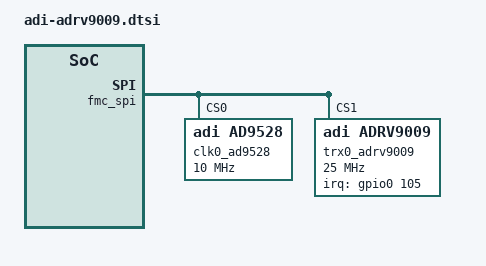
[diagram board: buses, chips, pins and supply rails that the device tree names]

#include <dt-bindings/iio/frequency/ad9528.h>
#include <dt-bindings/gpio/gpio.h>
#include <dt-bindings/interrupt-controller/irq.h>

/ {
	clocks {
		adrv9009_clkin: clock@0 {
			compatible = "fixed-clock";

			clock-frequency = <12288000>;
			clock-output-names = "adrv9009_ext_refclk";
			#clock-cells = <0>;
		};
	};
};

&fmc_spi {

	clk0_ad9528: ad9528-1@0 {
		compatible = "adi,ad9528";
		reg = <0>;

		#address-cells = <1>;
		#size-cells = <0>;

		spi-max-frequency = <10000000>;
		//adi,spi-3wire-enable;

		clock-output-names = "ad9528-1_out0", "ad9528-1_out1", "ad9528-1_out2",
			"ad9528-1_out3", "ad9528-1_out4", "ad9528-1_out5", "ad9528-1_out6",
			"ad9528-1_out7", "ad9528-1_out8", "ad9528-1_out9", "ad9528-1_out10",
			"ad9528-1_out11", "ad9528-1_out12", "ad9528-1_out13";
		#clock-cells = <1>;

		adi,vcxo-freq = <122880000>;

		adi,refa-enable;
		adi,refa-diff-rcv-enable;
		adi,refa-r-div = <1>;
		adi,osc-in-cmos-neg-inp-enable;

		/* PLL1 config */
		adi,pll1-feedback-div = <4>;
		adi,pll1-charge-pump-current-nA = <5000>;

		/* PLL2 config */
		adi,pll2-vco-div-m1 = <3>; /* use 5 for 184320000 output device clock */
		adi,pll2-n2-div = <10>; /* N / M1 */
		adi,pll2-r1-div = <1>;
		adi,pll2-charge-pump-current-nA = <805000>;

		/* SYSREF config */
		adi,sysref-src = <SYSREF_SRC_INTERNAL>;
		adi,sysref-pattern-mode = <SYSREF_PATTERN_CONTINUOUS>;
		adi,sysref-k-div = <512>;
		adi,sysref-request-enable;
		adi,sysref-nshot-mode = <SYSREF_NSHOT_4_PULSES>;
		adi,sysref-request-trigger-mode = <SYSREF_LEVEL_HIGH>;

		adi,rpole2 = <RPOLE2_900_OHM>;
		adi,rzero = <RZERO_1850_OHM>;
		adi,cpole1 = <CPOLE1_16_PF>;

		adi,status-mon-pin0-function-select = <1>; /* PLL1 & PLL2 Locked */
		adi,status-mon-pin1-function-select = <7>; /* REFA Correct */

		ad9528_0_c13: channel@13 {
			reg = <13>;
			adi,extended-name = "DEV_CLK";
			adi,driver-mode = <DRIVER_MODE_LVDS>;
			adi,divider-phase = <0>;
			adi,channel-divider = <10>;
			adi,signal-source = <SOURCE_VCO>;
		};

		ad9528_0_c1: channel@1 {
			reg = <1>;
			adi,extended-name = "FMC_CLK";
			adi,driver-mode = <DRIVER_MODE_LVDS>;
			adi,divider-phase = <0>;
			adi,channel-divider = <10>;
			adi,signal-source = <SOURCE_VCO>;
		};

		ad9528_0_c12: channel@12 {
			reg = <12>;
			adi,extended-name = "DEV_SYSREF";
			adi,driver-mode = <DRIVER_MODE_LVDS>;
			adi,divider-phase = <0>;
			adi,channel-divider = <10>;
			adi,signal-source = <SOURCE_SYSREF_VCO>;
		};

		ad9528_0_c3: channel@3 {
			reg = <3>;
			adi,extended-name = "FMC_SYSREF";
			adi,driver-mode = <DRIVER_MODE_LVDS>;
			adi,divider-phase = <0>;
			adi,channel-divider = <10>;
			adi,signal-source = <SOURCE_SYSREF_VCO>;
		};
	};

	trx0_adrv9009: adrv9009-phy@1 {
		compatible = "adi,adrv9009";
		reg = <1>;

		#address-cells = <1>;
		#size-cells = <0>;

		/* SPI Setup */
		spi-max-frequency = <25000000>;

		interrupt-parent = <&gpio0>;
		interrupts = <105 IRQ_TYPE_EDGE_RISING>;

		/* Clocks */
		clocks = <&axi_adrv9009_rx_jesd>, <&axi_adrv9009_tx_jesd>,
			<&axi_adrv9009_rx_os_jesd>, <&clk0_ad9528 13>,
			<&clk0_ad9528 1>, <&clk0_ad9528 12>, <&clk0_ad9528 3>;
		clock-names = "jesd_rx_clk", "jesd_tx_clk", "jesd_rx_os_clk",
			"dev_clk", "fmc_clk", "sysref_dev_clk",
			"sysref_fmc_clk";

		clock-output-names = "rx_sampl_clk", "rx_os_sampl_clk", "tx_sampl_clk";
		#clock-cells = <1>;

		/* JESD204 */

		/* JESD204 RX */
		adi,jesd204-framer-a-bank-id = <1>;
		adi,jesd204-framer-a-device-id = <0>;
		adi,jesd204-framer-a-lane0-id = <0>;
		adi,jesd204-framer-a-m = <4>;
		adi,jesd204-framer-a-k = <32>;
		adi,jesd204-framer-a-f = <4>;
		adi,jesd204-framer-a-np = <16>;
		adi,jesd204-framer-a-scramble = <1>;
		adi,jesd204-framer-a-external-sysref = <1>;
		adi,jesd204-framer-a-serializer-lanes-enabled = <0x03>;
		adi,jesd204-framer-a-serializer-lane-crossbar = <0xE4>;
		adi,jesd204-framer-a-lmfc-offset = <31>;
		adi,jesd204-framer-a-new-sysref-on-relink = <0>;
		adi,jesd204-framer-a-syncb-in-select = <0>;
		adi,jesd204-framer-a-over-sample = <0>;
		adi,jesd204-framer-a-syncb-in-lvds-mode = <1>;
		adi,jesd204-framer-a-syncb-in-lvds-pn-invert = <0>;
		adi,jesd204-framer-a-enable-manual-lane-xbar = <0>;

		/* JESD204 OBS */
		adi,jesd204-framer-b-bank-id = <0>;
		adi,jesd204-framer-b-device-id = <0>;
		adi,jesd204-framer-b-lane0-id = <0>;
		adi,jesd204-framer-b-m = <4>;
		adi,jesd204-framer-b-k = <32>;
		adi,jesd204-framer-b-f = <4>;
		adi,jesd204-framer-b-np = <16>;
		adi,jesd204-framer-b-scramble = <1>;
		adi,jesd204-framer-b-external-sysref = <1>;
		adi,jesd204-framer-b-serializer-lanes-enabled = <0x0C>;
		adi,jesd204-framer-b-serializer-lane-crossbar = <0xE4>;
		adi,jesd204-framer-b-lmfc-offset = <31>;
		adi,jesd204-framer-b-new-sysref-on-relink = <0>;
		adi,jesd204-framer-b-syncb-in-select = <1>;
		adi,jesd204-framer-b-over-sample = <0>;
		adi,jesd204-framer-b-syncb-in-lvds-mode = <1>;
		adi,jesd204-framer-b-syncb-in-lvds-pn-invert = <0>;
		adi,jesd204-framer-b-enable-manual-lane-xbar = <0>;

		/* JESD204 TX */
		adi,jesd204-deframer-a-bank-id = <0>;
		adi,jesd204-deframer-a-device-id = <0>;
		adi,jesd204-deframer-a-lane0-id = <0>;
		adi,jesd204-deframer-a-m = <4>;
		adi,jesd204-deframer-a-k = <32>;
		adi,jesd204-deframer-a-scramble = <1>;
		adi,jesd204-deframer-a-external-sysref = <1>;
		adi,jesd204-deframer-a-deserializer-lanes-enabled = <0x0F>;
		adi,jesd204-deframer-a-deserializer-lane-crossbar = <0xE4>;
		adi,jesd204-deframer-a-lmfc-offset = <17>;
		adi,jesd204-deframer-a-new-sysref-on-relink = <0>;
		adi,jesd204-deframer-a-syncb-out-select = <0>;
		adi,jesd204-deframer-a-np = <16>;
		adi,jesd204-deframer-a-syncb-out-lvds-mode = <1>;
		adi,jesd204-deframer-a-syncb-out-lvds-pn-invert = <0>;
		adi,jesd204-deframer-a-syncb-out-cmos-slew-rate = <0>;
		adi,jesd204-deframer-a-syncb-out-cmos-drive-level = <0>;
		adi,jesd204-deframer-a-enable-manual-lane-xbar = <0>;

		adi,jesd204-ser-amplitude = <15>;
		adi,jesd204-ser-pre-emphasis = <1>;
		adi,jesd204-ser-invert-lane-polarity = <0>;
		adi,jesd204-des-invert-lane-polarity = <0>;
		adi,jesd204-des-eq-setting = <1>;
		adi,jesd204-sysref-lvds-mode = <1>;
		adi,jesd204-sysref-lvds-pn-invert = <0>;

		/* RX */

		adi,rx-profile-rx-fir-gain_db = <(-6)>;
		adi,rx-profile-rx-fir-num-fir-coefs = <48>;
		adi,rx-profile-rx-fir-coefs = /bits/ 16 <(-8) (-22) (32) (50) (-68) (-106) (141) (199) (-258) (-352) (430) (572) (-691) (-903) (1069) (1392) (-1644) (-2172) (2569) (3574) (-4364) (-7129) (9355) (31095) (31095) (9355) (-7129) (-4364) (3574) (2569) (-2172) (-1644) (1392) (1069) (-903) (-691) (572) (430) (-352) (-258) (199) (141) (-106) (-68) (50) (32) (-22) (-8)>;

		adi,rx-profile-rx-fir-decimation = <2>;
		adi,rx-profile-rx-dec5-decimation = <4>;
		adi,rx-profile-rhb1-decimation = <2>;
		adi,rx-profile-rx-output-rate_khz = <122880>;
		adi,rx-profile-rf-bandwidth_hz = <100000000>;
		adi,rx-profile-rx-bbf3d-bcorner_khz = <100000>;
		adi,rx-profile-rx-adc-profile = /bits/ 16 <265 146 181 90 1280 366 1257 27 1258 17 718 39 48 46 27 161 0 0 0 0 40 0 7 6 42 0 7 6 42 0 25 27 0 0 25 27 0 0 165 44 31 905>;
		adi,rx-profile-rx-ddc-mode = <0>;

		adi,rx-nco-shifter-band-a-input-band-width_khz = <0>;
		adi,rx-nco-shifter-band-a-input-center-freq_khz = <0>;
		adi,rx-nco-shifter-band-a-nco1-freq_khz = <0>;
		adi,rx-nco-shifter-band-a-nco2-freq_khz = <0>;
		adi,rx-nco-shifter-band-binput-band-width_khz = <0>;
		adi,rx-nco-shifter-band-binput-center-freq_khz = <0>;
		adi,rx-nco-shifter-band-bnco1-freq_khz = <0>;
		adi,rx-nco-shifter-band-bnco2-freq_khz = <0>;

		adi,rx-gain-control-gain-mode = <0>;
		adi,rx-gain-control-rx1-gain-index = <255>;
		adi,rx-gain-control-rx2-gain-index = <255>;
		adi,rx-gain-control-rx1-max-gain-index = <255>;
		adi,rx-gain-control-rx1-min-gain-index = <195>;
		adi,rx-gain-control-rx2-max-gain-index = <255>;
		adi,rx-gain-control-rx2-min-gain-index = <195>;

		adi,rx-settings-framer-sel = <0>;
		adi,rx-settings-rx-channels = <3>;

		/* ORX */

		adi,orx-profile-rx-fir-gain_db = <(-6)>;
		adi,orx-profile-rx-fir-num-fir-coefs = <48>;
		adi,orx-profile-rx-fir-coefs = /bits/ 16  <(-9) (-18) (31) (42) (-65) (-89) (132) (168) (-240) (-298) (396) (486) (-632) (-770) (968) (1163) (-1530) (-1862) (2369) (3051) (-4066) (-5983) (9689) (29830) (29830) (9689) (-5983) (-4066) (3051) (2369) (-1862) (-1530) (1163) (968) (-770) (-632) (486) (396) (-298) (-240) (168) (132) (-89) (-65) (42) (31) (-18) (-9)>;
		adi,orx-profile-rx-fir-decimation = <2>;
		adi,orx-profile-rx-dec5-decimation = <4>;
		adi,orx-profile-rhb1-decimation = <2>;
		adi,orx-profile-orx-output-rate_khz = <122880>;
		adi,orx-profile-rf-bandwidth_hz = <100000000>;
		adi,orx-profile-rx-bbf3d-bcorner_khz = <225000>;
		adi,orx-profile-orx-low-pass-adc-profile = /bits/ 16  <265 146 181 90 1280 366 1257 27 1258 17 718 39 48 46 27 161 0 0 0 0 40 0 7 6 42 0 7 6 42 0 25 27 0 0 25 27 0 0 165 44 31 905>;
		adi,orx-profile-orx-band-pass-adc-profile = /bits/ 16  <265 146 181 90 1280 366 1257 27 1258 17 718 39 48 46 27 161 0 0 0 0 40 0 7 6 42 0 7 6 42 0 25 27 0 0 25 27 0 0 165 44 31 905>;
		adi,orx-profile-orx-ddc-mode = <0>;
		adi,orx-profile-orx-merge-filter = /bits/ 16  <0 0 0 0 0 0 0 0 0 0 0 0>;

		adi,orx-gain-control-gain-mode = <0>;
		adi,orx-gain-control-orx1-gain-index = <255>;
		adi,orx-gain-control-orx2-gain-index = <255>;
		adi,orx-gain-control-orx1-max-gain-index = <255>;
		adi,orx-gain-control-orx1-min-gain-index = <195>;
		adi,orx-gain-control-orx2-max-gain-index = <255>;
		adi,orx-gain-control-orx2-min-gain-index = <195>;

		adi,obs-settings-framer-sel = <1>;
		adi,obs-settings-obs-rx-channels-enable = <3>;
		adi,obs-settings-obs-rx-lo-source = <0>;

		/* TX */

		adi,tx-profile-tx-fir-gain_db = <6>;
		adi,tx-profile-tx-fir-num-fir-coefs = <80>;
		adi,tx-profile-tx-fir-coefs = /bits/ 16  <(0) (0) (0) (1) (0) (-3) (1) (7) (-3) (-13) (7) (25) (-14) (-42) (27) (69) (-46) (-107) (74) (160) (-115) (-229) (184) (336) (-264) (-468) (382) (653) (-538) (-904) (754) (1269) (-1056) (-1842) (1486) (2879) (-2031) (-4846) (3816) (16221) (16221) (3816) (-4846) (-2031) (2879) (1486) (-1842) (-1056) (1269) (754) (-904) (-538) (653) (382) (-468) (-264) (336) (184) (-229) (-115) (160) (74) (-107) (-46) (69) (27) (-42) (-14) (25) (7) (-13) (-3) (7) (1) (-3) (0) (1) (0) (0) (0)>;

		adi,tx-profile-dac-div = <1>;

		adi,tx-profile-tx-fir-interpolation = <2>;
		adi,tx-profile-thb1-interpolation = <2>;
		adi,tx-profile-thb2-interpolation = <2>;
		adi,tx-profile-thb3-interpolation = <2>;
		adi,tx-profile-tx-int5-interpolation = <1>;
		adi,tx-profile-tx-input-rate_khz = <122880>;
		adi,tx-profile-primary-sig-bandwidth_hz = <50000000>;
		adi,tx-profile-rf-bandwidth_hz = <100000000>;
		adi,tx-profile-tx-dac3d-bcorner_khz = <187000>;
		adi,tx-profile-tx-bbf3d-bcorner_khz = <56000>;
		adi,tx-profile-loop-back-adc-profile = /bits/ 16 <265 146 181 90 1280 366 1257 27 1258 17 718 39 48 46 27 161 0 0 0 0 40 0 7 6 42 0 7 6 42 0 25 27 0 0 25 27 0 0 165 44 31 905>;

		adi,tx-settings-deframer-sel = <0>;
		adi,tx-settings-tx-channels = <3>;
		adi,tx-settings-tx-atten-step-size = <0>;
		adi,tx-settings-tx1-atten_md-b = <10000>;
		adi,tx-settings-tx2-atten_md-b = <10000>;
		adi,tx-settings-dis-tx-data-if-pll-unlock = <0>;

		/* Clocks */

		adi,dig-clocks-device-clock_khz = <122880>;
		adi,dig-clocks-clk-pll-vco-freq_khz = <9830400>;
		adi,dig-clocks-clk-pll-hs-div = <1>;
		adi,dig-clocks-rf-pll-use-external-lo = <0>;
		adi,dig-clocks-rf-pll-phase-sync-mode = <0>;

		/* AGC */

		adi,rxagc-peak-agc-under-range-low-interval_ns = <205>;
		adi,rxagc-peak-agc-under-range-mid-interval = <2>;
		adi,rxagc-peak-agc-under-range-high-interval = <4>;
		adi,rxagc-peak-apd-high-thresh = <39>;
		adi,rxagc-peak-apd-low-gain-mode-high-thresh = <36>;
		adi,rxagc-peak-apd-low-thresh = <23>;
		adi,rxagc-peak-apd-low-gain-mode-low-thresh = <19>;
		adi,rxagc-peak-apd-upper-thresh-peak-exceeded-cnt = <6>;
		adi,rxagc-peak-apd-lower-thresh-peak-exceeded-cnt = <3>;
		adi,rxagc-peak-apd-gain-step-attack = <4>;
		adi,rxagc-peak-apd-gain-step-recovery = <2>;
		adi,rxagc-peak-enable-hb2-overload = <1>;
		adi,rxagc-peak-hb2-overload-duration-cnt = <1>;
		adi,rxagc-peak-hb2-overload-thresh-cnt = <4>;
		adi,rxagc-peak-hb2-high-thresh = <181>;
		adi,rxagc-peak-hb2-under-range-low-thresh = <45>;
		adi,rxagc-peak-hb2-under-range-mid-thresh = <90>;
		adi,rxagc-peak-hb2-under-range-high-thresh = <128>;
		adi,rxagc-peak-hb2-upper-thresh-peak-exceeded-cnt = <6>;
		adi,rxagc-peak-hb2-lower-thresh-peak-exceeded-cnt = <3>;
		adi,rxagc-peak-hb2-gain-step-high-recovery = <2>;
		adi,rxagc-peak-hb2-gain-step-low-recovery = <4>;
		adi,rxagc-peak-hb2-gain-step-mid-recovery = <8>;
		adi,rxagc-peak-hb2-gain-step-attack = <4>;
		adi,rxagc-peak-hb2-overload-power-mode = <1>;
		adi,rxagc-peak-hb2-ovrg-sel = <0>;
		adi,rxagc-peak-hb2-thresh-config = <3>;

		adi,rxagc-power-power-enable-measurement = <1>;
		adi,rxagc-power-power-use-rfir-out = <1>;
		adi,rxagc-power-power-use-bbdc2 = <0>;
		adi,rxagc-power-under-range-high-power-thresh = <9>;
		adi,rxagc-power-under-range-low-power-thresh = <2>;
		adi,rxagc-power-under-range-high-power-gain-step-recovery = <4>;
		adi,rxagc-power-under-range-low-power-gain-step-recovery = <4>;
		adi,rxagc-power-power-measurement-duration = <5>;
		adi,rxagc-power-rx1-tdd-power-meas-duration = <5>;
		adi,rxagc-power-rx1-tdd-power-meas-delay = <1>;
		adi,rxagc-power-rx2-tdd-power-meas-duration = <5>;
		adi,rxagc-power-rx2-tdd-power-meas-delay = <1>;
		adi,rxagc-power-upper0-power-thresh = <2>;
		adi,rxagc-power-upper1-power-thresh = <0>;
		adi,rxagc-power-power-log-shift = <0>;

		adi,rxagc-agc-peak-wait-time = <4>;
		adi,rxagc-agc-rx1-max-gain-index = <255>;
		adi,rxagc-agc-rx1-min-gain-index = <195>;
		adi,rxagc-agc-rx2-max-gain-index = <255>;
		adi,rxagc-agc-rx2-min-gain-index = <195>;
		adi,rxagc-agc-gain-update-counter_us = <250>;
		adi,rxagc-agc-rx1-attack-delay = <10>;
		adi,rxagc-agc-rx2-attack-delay = <10>;
		adi,rxagc-agc-slow-loop-settling-delay = <16>;
		adi,rxagc-agc-low-thresh-prevent-gain = <0>;
		adi,rxagc-agc-change-gain-if-thresh-high = <1>;
		adi,rxagc-agc-peak-thresh-gain-control-mode = <1>;
		adi,rxagc-agc-reset-on-rxon = <0>;
		adi,rxagc-agc-enable-sync-pulse-for-gain-counter = <0>;
		adi,rxagc-agc-enable-ip3-optimization-thresh = <0>;
		adi,rxagc-ip3-over-range-thresh = <31>;
		adi,rxagc-ip3-over-range-thresh-index = <246>;
		adi,rxagc-ip3-peak-exceeded-cnt = <4>;
		adi,rxagc-agc-enable-fast-recovery-loop = <0>;


		/* Misc */

		adi,aux-dac-enables = <0x00>; /* Mask */

		adi,aux-dac-vref0 = <3>;
		adi,aux-dac-resolution0 = <0>;
		adi,aux-dac-values0 = <0>;
		adi,aux-dac-vref1 = <3>;
		adi,aux-dac-resolution1 = <0>;
		adi,aux-dac-values1 = <0>;
		adi,aux-dac-vref2 = <3>;
		adi,aux-dac-resolution2 = <0>;
		adi,aux-dac-values2 = <0>;
		adi,aux-dac-vref3 = <3>;
		adi,aux-dac-resolution3 = <0>;
		adi,aux-dac-values3 = <0>;
		adi,aux-dac-vref4 = <3>;
		adi,aux-dac-resolution4 = <0>;
		adi,aux-dac-values4 = <0>;
		adi,aux-dac-vref5 = <3>;
		adi,aux-dac-resolution5 = <0>;
		adi,aux-dac-values5 = <0>;
		adi,aux-dac-vref6 = <3>;
		adi,aux-dac-resolution6 = <0>;
		adi,aux-dac-values6 = <0>;
		adi,aux-dac-vref7 = <3>;
		adi,aux-dac-resolution7 = <0>;
		adi,aux-dac-values7 = <0>;
		adi,aux-dac-vref8 = <3>;
		adi,aux-dac-resolution8 = <0>;
		adi,aux-dac-values8 = <0>;
		adi,aux-dac-vref9 = <3>;
		adi,aux-dac-resolution9 = <0>;
		adi,aux-dac-values9 = <0>;
		adi,aux-dac-vref10 = <3>;
		adi,aux-dac-resolution10 = <0>;
		adi,aux-dac-values10 = <0>;
		adi,aux-dac-vref11 = <3>;
		adi,aux-dac-resolution11 = <0>;
		adi,aux-dac-values11 = <0>;

		adi,arm-gpio-config-orx1-tx-sel0-pin-gpio-pin-sel = <0>;
		adi,arm-gpio-config-orx1-tx-sel0-pin-polarity = <0>;
		adi,arm-gpio-config-orx1-tx-sel0-pin-enable = <0>;

		adi,arm-gpio-config-orx1-tx-sel1-pin-gpio-pin-sel = <0>;
		adi,arm-gpio-config-orx1-tx-sel1-pin-polarity = <0>;
		adi,arm-gpio-config-orx1-tx-sel1-pin-enable = <0>;
		adi,arm-gpio-config-orx2-tx-sel0-pin-gpio-pin-sel = <0>;
		adi,arm-gpio-config-orx2-tx-sel0-pin-polarity = <0>;
		adi,arm-gpio-config-orx2-tx-sel0-pin-enable = <0>;

		adi,arm-gpio-config-orx2-tx-sel1-pin-gpio-pin-sel = <0>;
		adi,arm-gpio-config-orx2-tx-sel1-pin-polarity = <0>;
		adi,arm-gpio-config-orx2-tx-sel1-pin-enable = <0>;
		adi,arm-gpio-config-en-tx-tracking-cals-gpio-pin-sel = <0>;
		adi,arm-gpio-config-en-tx-tracking-cals-polarity = <0>;
		adi,arm-gpio-config-en-tx-tracking-cals-enable = <0>;

		adi,orx-lo-cfg-disable-aux-pll-relocking = <0>;
		adi,orx-lo-cfg-gpio-select = <19>;

		adi,fhm-config-fhm-gpio-pin = <0>;
		adi,fhm-config-fhm-min-freq_mhz = <100>;
		adi,fhm-config-fhm-max-freq_mhz = <100>;

		adi,fhm-mode-fhm-enable = <0>;
		adi,fhm-mode-enable-mcs-sync = <0>;
		adi,fhm-mode-fhm-trigger-mode = <0>;
		adi,fhm-mode-fhm-exit-mode = <0>;
		adi,fhm-mode-fhm-init-frequency_hz = <2450000000>;

		adi,rx1-gain-ctrl-pin-inc-step = <1>;
		adi,rx1-gain-ctrl-pin-dec-step = <1>;
		adi,rx1-gain-ctrl-pin-rx-gain-inc-pin = <0>;
		adi,rx1-gain-ctrl-pin-rx-gain-dec-pin = <1>;
		adi,rx1-gain-ctrl-pin-enable = <0>;

		adi,rx2-gain-ctrl-pin-inc-step = <1>;
		adi,rx2-gain-ctrl-pin-dec-step = <1>;
		adi,rx2-gain-ctrl-pin-rx-gain-inc-pin = <3>;
		adi,rx2-gain-ctrl-pin-rx-gain-dec-pin = <4>;
		adi,rx2-gain-ctrl-pin-enable = <0>;

		adi,tx1-atten-ctrl-pin-step-size = <0>;
		adi,tx1-atten-ctrl-pin-tx-atten-inc-pin = <4>;
		adi,tx1-atten-ctrl-pin-tx-atten-dec-pin = <5>;
		adi,tx1-atten-ctrl-pin-enable = <0>;

		adi,tx2-atten-ctrl-pin-step-size = <0>;
		adi,tx2-atten-ctrl-pin-tx-atten-inc-pin = <6>;
		adi,tx2-atten-ctrl-pin-tx-atten-dec-pin = <7>;
		adi,tx2-atten-ctrl-pin-enable = <0>;

		adi,tx-pa-protection-avg-duration = <3>;
		adi,tx-pa-protection-tx-atten-step = <2>;
		adi,tx-pa-protection-tx1-power-threshold = <4096>;
		adi,tx-pa-protection-tx2-power-threshold = <4096>;
		adi,tx-pa-protection-peak-count = <4>;
		adi,tx-pa-protection-tx1-peak-threshold = <130>;
		adi,tx-pa-protection-tx2-peak-threshold = <130>;
	};
};

